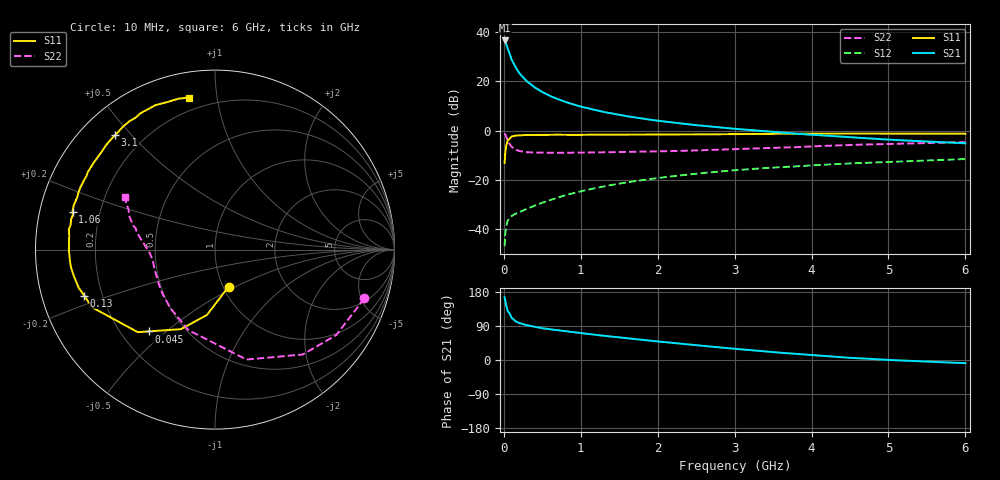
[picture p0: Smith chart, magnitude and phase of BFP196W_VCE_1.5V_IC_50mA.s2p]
! Infineon Technologies  Discrete & RF Semiconductors
! BFP196W
! VCE = 1.5 V,  IC =  50mA
! Common Emitter S-Parameters:  Jan 2016
# GHz  S  MA  R  50
!  f  S11  S21  S12  S22
! GHz  MAG  ANG  MAG  ANG  MAG  ANG  MAG  ANG
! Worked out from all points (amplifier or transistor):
!   210 points, 10 MHz to 6 GHz, reference 50 ohm
!   highest |S21| = 36.7 dB at 10 MHz (marker M1)
!   |S21| within 3 dB of that: start of sweep to 46.18 MHz
!   unconditionally stable (mu >= 1): 544.4 MHz to 3.344 GHz
!   at 185 MHz: K = 0.58, MSG = 28.8 dB, |S12| = -33.5 dB
!   at 1.52 GHz: K = 1.12, MAG = 11.8 dB, |S12| = -21.5 dB
!   at 6 GHz: K = 0.97, MSG = 3.2 dB, |S12| = -11.6 dB
!   S11 on the Smith chart (normalised r, x): 10 MHz: 1.06, -0.46; 45 MHz: 0.31, -0.44; 130 MHz: 0.13, -0.17; 1.06 GHz: 0.10, +0.13; 3.1 GHz: 0.10, +0.45; 6 GHz: 0.13, +0.83
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0.01  0.2199 -69.9  68.51 165.4  0.0044 76.4  0.8752 -18.1
0.02  0.3667 -97.0  64.86 154.4  0.0082 67.1  0.8265 -35.2
0.03  0.4823 -113.2  58.78 144.4  0.0109 60.2  0.7619 -50.1
0.045  0.5872 -129.1  49.16 133.7  0.0136 49.6  0.6565 -67.2
0.05  0.6299 -133.1  46.44 129.2  0.0146 47.0  0.6371 -74.0
0.1  0.7552 -154.7  28.09 111.2  0.0181 38.6  0.4724 -108.4
0.13  0.7726 -160.6  22.9 106.7  0.0193 38.3  0.429 -119.2
0.15  0.7886 -164.4  19.56 102.3  0.0201 38.1  0.4098 -127.4
0.2  0.8002 -169.4  14.86 97.7  0.0217 40.6  0.384 -138.8
0.24  0.8068 -172.4  12.6 94.9  0.0231 42.6  0.374 -144.5
0.3  0.8106 -175.6  10 91.7  0.0254 46.1  0.3615 -151.5
0.4  0.8142 -179.8  7.565 87.4  0.0294 50.0  0.3563 -158.2
0.5  0.8149 177.1  6.079 83.9  0.0338 53.6  0.3538 -162.7
0.6  0.8157 174.7  5.073 81.0  0.0382 56.4  0.3524 -165.9
0.8  0.8163 170.1  3.826 75.8  0.0481 59.6  0.3523 -169.7
1.02  0.8167 166.0  3.018 70.7  0.0585 61.1  0.3558 -172.7
1.06  0.8195 165.3  2.916 69.7  0.0606 61.3  0.3562 -173.1
2.02  0.8299 148.4  1.572 48.6  0.1086 58.0  0.3764 179.6
3.1  0.8465 131.2  1.054 27.9  0.1594 48.9  0.4228 171.0
4.1  0.8658 117.4  0.803 11.7  0.1988 40.0  0.482 162.6
5.1  0.8636 106.9  0.64 -0.7  0.2326 31.6  0.5385 154.3
6  0.8599 99.8  0.55 -8.3  0.2626 25.1  0.5798 149.5
